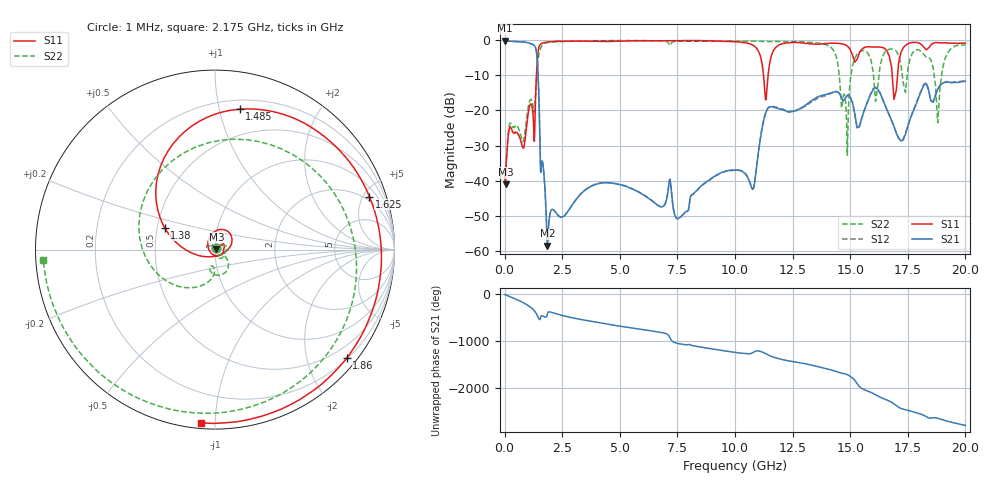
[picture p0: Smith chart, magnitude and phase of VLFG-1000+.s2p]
! Mini-Circuits
! S2P DATA File Format
! Type: LOW PASS FILTER
! Model: VLFG-1000+
! All S Parameters are in dB deg format
! TEST CONDITIONS: INPUT POWER = 0 dBm @ Temperature = -55 deg C
# MHz S dB R 50
!Frequency  S11 dB  S11 DEG  S21 dB  S21 DEG  S12 dB  S12 DEG  S22 dB  S22 DEG
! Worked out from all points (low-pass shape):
!   898 points, 1 MHz to 20 GHz, reference 50 ohm
!   highest |S21| = -0.07 dB at 1 MHz (marker M1); lowest = -58.6 dB at 1.855 GHz (marker M2)
!   |S21| within 3 dB of the highest: start of sweep to 1.378 GHz
!   lowest |S11| = -41.1 dB at 40 MHz (marker M3), VSWR 1.02, Z = 50.8 + j0.306 ohm
!   |S11| at or under -10 dB: start of sweep to 1.382 GHz; 11.24 GHz to 11.44 GHz (198.4 MHz wide, 1.75 % of centre); 16.82 GHz to 17.06 GHz (230.6 MHz wide, 1.36 % of centre)
!   |S22| runs from -40.6 to 0.0 dB; largest |S21 - S12| = 0.011
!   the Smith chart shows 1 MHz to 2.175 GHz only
!   S11 on the Smith chart (normalised r, x): 1 MHz: 1.01, +0.02; 1.38 GHz: 0.55, +0.15; 1.485 GHz: 0.27, +1.15; 1.625 GHz: 1.61, +5.53; 1.86 GHz: 0.22, -2.77; 2.175 GHz: 0.03, -0.92
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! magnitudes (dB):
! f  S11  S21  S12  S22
! 1 MHz  -38.3  -0.1  -0.1  -39.0
! 40 MHz  -41.1  -0.1  -0.1  -40.2
! 230 MHz  -24.8  -0.2  -0.2  -23.7
! 1.29 GHz  -28.8  -1.5  -1.5  -20.6
! 1.38 GHz  -10.3  -3.2  -3.1  -11.5
! 1.485 GHz  -2.0  -15.4  -15.4  -4.1
! 1.56 GHz  -1.1  -36.9  -36.8  -2.2
! 1.625 GHz  -0.8  -34.4  -34.4  -1.5
! 1.855 GHz  -0.4  -58.6  -58.7  -0.6
! 1.86 GHz  -0.4  -58.5  -58.6  -0.6
! 2.175 GHz  -0.3  -48.7  -48.8  -0.4
! 3.35 GHz  -0.2  -43.5  -43.5  -0.2
! 6.675 GHz  -0.1  -47.2  -47.1  -0.1
! 10.03 GHz  -0.4  -37.1  -37.0  -0.2
! 10.78 GHz  -1.3  -42.5  -42.3  -0.2
! 11.32 GHz  -16.9  -20.9  -20.7  -0.3
! 13.35 GHz  -1.0  -17.1  -17.5  -0.6
! 14.3 GHz  -0.8  -14.7  -14.7  -3.1
! 14.85 GHz  -1.5  -15.9  -15.9  -24.7
! 15.4 GHz  -3.5  -24.5  -24.6  -3.3
! 16.7 GHz  -4.6  -21.3  -21.4  -2.5
! 20 GHz  -0.7  -11.6  -11.4  -1.3
